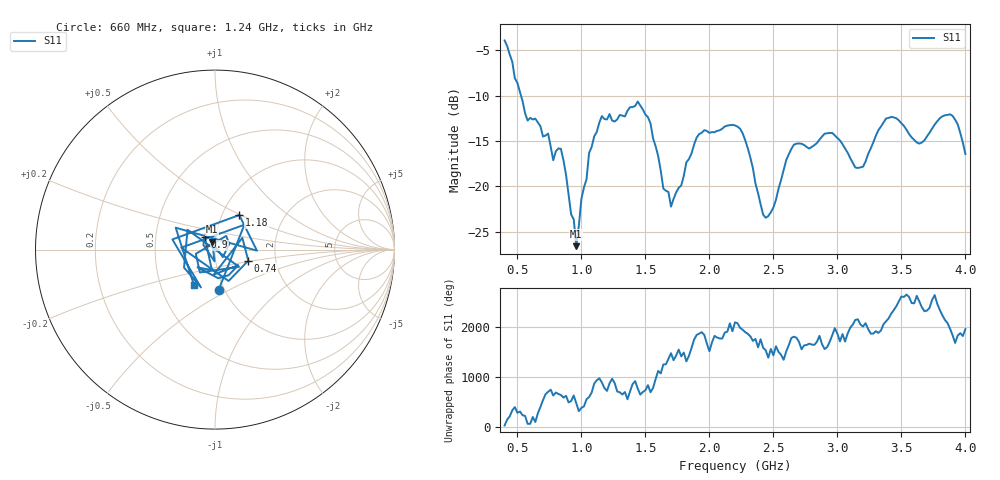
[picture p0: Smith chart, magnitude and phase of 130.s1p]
!Created with skrf (http://scikit-rf.org).
# Hz S RI R 50.0
!freq ReS11 ImS11
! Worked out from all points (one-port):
!   181 points, 400 MHz to 4 GHz, reference 50 ohm
!   lowest |S11| = -26.6 dB at 960 MHz (marker M1), VSWR 1.10, Z = 48.2 + j4.23 ohm
!   |S11| at or under -10 dB: 528.1 MHz to end of sweep
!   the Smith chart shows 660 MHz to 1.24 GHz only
!   S11 on the Smith chart (normalised r, x): 660 MHz: 0.94, -0.44; 740 MHz: 1.44, -0.18; 900 MHz: 0.88, +0.12; 1.18 GHz: 1.20, +0.49; 1.24 GHz: 0.74, -0.31
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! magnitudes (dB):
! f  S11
! 400 MHz  -3.9
! 580 MHz  -12.7
! 660 MHz  -13.0
! 740 MHz  -14.2
! 780 MHz  -17.1
! 860 MHz  -17.1
! 900 MHz  -20.9
! 960 MHz  -26.6
! 1.06 GHz  -16.3
! 1.18 GHz  -12.6
! 1.24 GHz  -12.7
! 1.3 GHz  -12.1
! 1.44 GHz  -10.6
! 1.54 GHz  -13.1
! 1.7 GHz  -22.2
! 1.76 GHz  -20.2
! 1.92 GHz  -14.2
! 2.2 GHz  -13.3
! 2.28 GHz  -14.9
! 2.44 GHz  -23.5
! 2.66 GHz  -15.4
! 2.96 GHz  -14.1
! 3.1 GHz  -16.9
! 3.2 GHz  -17.8
! 3.38 GHz  -12.5
! 3.56 GHz  -14.2
! 3.88 GHz  -12.1
! 4 GHz  -16.4
